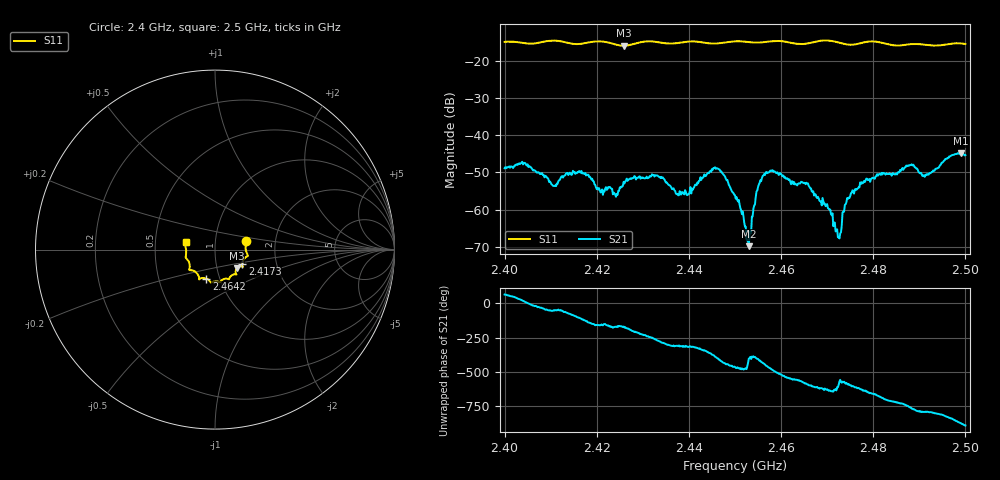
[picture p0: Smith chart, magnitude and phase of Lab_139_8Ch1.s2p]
# Hz S RI R 50
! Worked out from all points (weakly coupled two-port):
!   601 points, 2.4 GHz to 2.5 GHz, reference 50 ohm
!   highest |S21| = -44.82 dB at 2.499 GHz (marker M1); lowest = -69.8 dB at 2.453 GHz (marker M2)
!   lowest |S11| = -15.9 dB at 2.4258 GHz (marker M3), VSWR 1.38, Z = 62.4 - j13.2 ohm
!   |S11| at or under -10 dB: start of sweep to end of sweep
!   S12 and S22 are empty: the file has one direction only
!   S11 on the Smith chart (normalised r, x): 2.4 GHz: 1.41, +0.14; 2.4173 GHz: 1.34, -0.23; 2.4642 GHz: 0.86, -0.29; 2.5 GHz: 0.72, +0.06
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2.4e9  0.1732 0.0495  0.00166 0.0032  0 0  0 0
2.404167e9  0.172 0.0245  0.00405 0.00105  0 0  0 0
2.410667e9  0.1842 -0.0344  0.00131 -0.00162  0 0  0 0
2.416667e9  0.1531 -0.0741  -0.00133 -0.00302  0 0  0 0
2.417333e9  0.1522 -0.0816  -0.00167 -0.00249  0 0  0 0
2.421167e9  0.1545 -0.0965  -0.00173 -0.000699  0 0  0 0
2.425833e9  0.1223 -0.1032  -0.00233 -0.000412  0 0  0 0
2.433333e9  0.1137 -0.1373  0.00013 0.00281  0 0  0 0
2.4395e9  0.0795 -0.1623  0.00111 0.00112  0 0  0 0
2.445833e9  0.0488 -0.1643  0.00301 -0.00186  0 0  0 0
2.45e9  0.0285 -0.1814  -0.000355 -0.00152  0 0  0 0
2.453e9  0.0174 -0.1783  0.000237 -0.000218  0 0  0 0
2.455e9  0.00196 -0.1767  0.0014 -0.00144  0 0  0 0
2.456333e9  -0.00903 -0.1789  0.000459 -0.00298  0 0  0 0
2.464167e9  -0.0482 -0.1614  -0.00203 0.000948  0 0  0 0
2.466667e9  -0.0764 -0.159  -0.000758 0.00158  0 0  0 0
2.4725e9  -0.0897 -0.1521  -0.000254 0.000342  0 0  0 0
2.475667e9  -0.1131 -0.1208  -0.000803 0.00158  0 0  0 0
2.483333e9  -0.1407 -0.0896  0.00293 0.000671  0 0  0 0
2.4915e9  -0.1617 -0.0296  0.000949 -0.00274  0 0  0 0
2.499e9  -0.168 0.0373  -0.00507 -0.0027  0 0  0 0
2.5e9  -0.1635 0.0426  -0.0053 -0.00107  0 0  0 0
